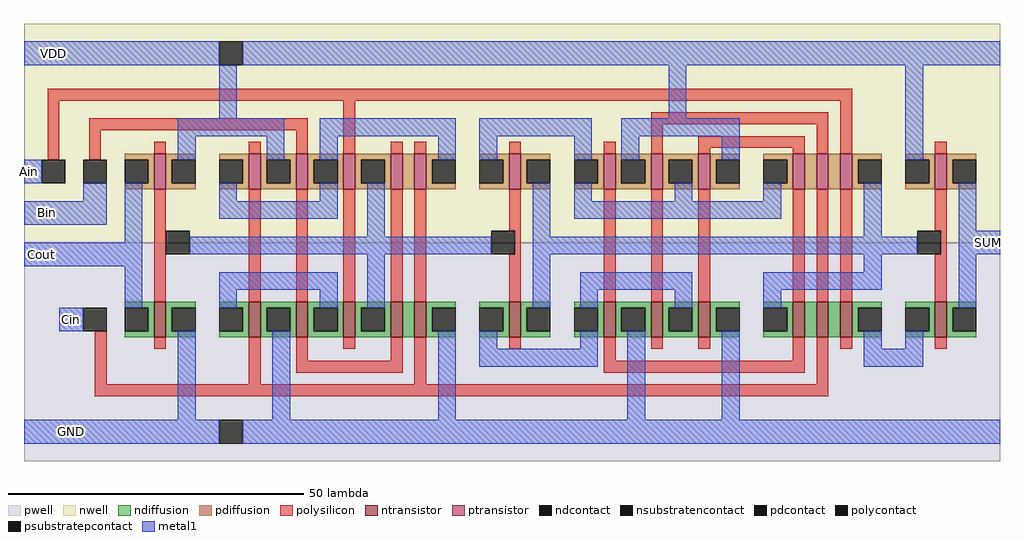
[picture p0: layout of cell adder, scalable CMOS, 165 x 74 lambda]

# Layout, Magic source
magic
tech scmos
<< pwell >>
rect -26 -43 139 -6
<< nwell >>
rect -26 -6 139 31
<< polysilicon >>
rect -22 18 114 20
rect -22 8 -20 18
rect -15 13 22 15
rect -15 8 -13 13
rect -4 9 -2 11
rect 12 9 14 11
rect 20 9 22 13
rect 28 9 30 18
rect 80 14 110 16
rect 36 9 38 11
rect 40 9 42 11
rect 56 9 58 11
rect 72 9 74 11
rect 80 9 82 14
rect 88 10 106 12
rect 88 9 90 10
rect 104 9 106 10
rect 108 9 110 14
rect 112 9 114 18
rect 128 9 130 11
rect -4 -16 -2 3
rect 12 -16 14 3
rect 20 -16 22 3
rect 28 -16 30 3
rect 36 -16 38 3
rect 40 -16 42 3
rect 56 -4 58 3
rect 57 -8 58 -4
rect 56 -16 58 -8
rect 72 -16 74 3
rect 80 -16 82 3
rect 88 -16 90 3
rect 104 -16 106 3
rect 108 -16 110 3
rect 112 -16 114 3
rect 128 -4 130 3
rect 129 -8 130 -4
rect 128 -16 130 -8
rect -14 -30 -12 -21
rect -4 -24 -2 -22
rect 12 -30 14 -22
rect 20 -26 22 -22
rect 28 -24 30 -22
rect 36 -26 38 -22
rect 20 -28 38 -26
rect 40 -30 42 -22
rect 56 -24 58 -22
rect 72 -26 74 -22
rect 80 -24 82 -22
rect 88 -24 90 -22
rect 104 -26 106 -22
rect 72 -28 106 -26
rect 108 -30 110 -22
rect 112 -24 114 -22
rect 128 -24 130 -22
rect -14 -32 110 -30
<< ndiffusion >>
rect -9 -17 -4 -16
rect -5 -21 -4 -17
rect -9 -22 -4 -21
rect -2 -17 3 -16
rect -2 -21 -1 -17
rect -2 -22 3 -21
rect 7 -17 12 -16
rect 11 -21 12 -17
rect 7 -22 12 -21
rect 14 -17 20 -16
rect 14 -21 15 -17
rect 19 -21 20 -17
rect 14 -22 20 -21
rect 22 -17 28 -16
rect 22 -21 23 -17
rect 27 -21 28 -17
rect 22 -22 28 -21
rect 30 -17 36 -16
rect 30 -21 31 -17
rect 35 -21 36 -17
rect 30 -22 36 -21
rect 38 -22 40 -16
rect 42 -17 47 -16
rect 42 -21 43 -17
rect 42 -22 47 -21
rect 51 -17 56 -16
rect 55 -21 56 -17
rect 51 -22 56 -21
rect 58 -17 63 -16
rect 58 -21 59 -17
rect 58 -22 63 -21
rect 67 -17 72 -16
rect 71 -21 72 -17
rect 67 -22 72 -21
rect 74 -17 80 -16
rect 74 -21 75 -17
rect 79 -21 80 -17
rect 74 -22 80 -21
rect 82 -17 88 -16
rect 82 -21 83 -17
rect 87 -21 88 -17
rect 82 -22 88 -21
rect 90 -17 95 -16
rect 90 -21 91 -17
rect 90 -22 95 -21
rect 99 -17 104 -16
rect 103 -21 104 -17
rect 99 -22 104 -21
rect 106 -22 108 -16
rect 110 -22 112 -16
rect 114 -17 119 -16
rect 114 -21 115 -17
rect 114 -22 119 -21
rect 123 -17 128 -16
rect 127 -21 128 -17
rect 123 -22 128 -21
rect 130 -17 135 -16
rect 130 -21 131 -17
rect 130 -22 135 -21
<< pdiffusion >>
rect -9 8 -4 9
rect -5 4 -4 8
rect -9 3 -4 4
rect -2 8 3 9
rect -2 4 -1 8
rect -2 3 3 4
rect 7 8 12 9
rect 11 4 12 8
rect 7 3 12 4
rect 14 8 20 9
rect 14 4 15 8
rect 19 4 20 8
rect 14 3 20 4
rect 22 8 28 9
rect 22 4 23 8
rect 27 4 28 8
rect 22 3 28 4
rect 30 8 36 9
rect 30 4 31 8
rect 35 4 36 8
rect 30 3 36 4
rect 38 3 40 9
rect 42 8 47 9
rect 42 4 43 8
rect 42 3 47 4
rect 51 8 56 9
rect 55 4 56 8
rect 51 3 56 4
rect 58 8 63 9
rect 58 4 59 8
rect 58 3 63 4
rect 67 8 72 9
rect 71 4 72 8
rect 67 3 72 4
rect 74 8 80 9
rect 74 4 75 8
rect 79 4 80 8
rect 74 3 80 4
rect 82 8 88 9
rect 82 4 83 8
rect 87 4 88 8
rect 82 3 88 4
rect 90 8 95 9
rect 90 4 91 8
rect 90 3 95 4
rect 99 8 104 9
rect 103 4 104 8
rect 99 3 104 4
rect 106 3 108 9
rect 110 3 112 9
rect 114 8 119 9
rect 114 4 115 8
rect 114 3 119 4
rect 123 8 128 9
rect 127 4 128 8
rect 123 3 128 4
rect 130 8 135 9
rect 130 4 131 8
rect 130 3 135 4
<< metal1 >>
rect -26 24 7 28
rect 11 24 139 28
rect 7 15 10 24
rect 83 15 86 24
rect 0 12 18 15
rect 0 8 3 12
rect 15 8 18 12
rect 24 12 47 15
rect 24 8 27 12
rect 44 8 47 12
rect -26 4 -23 8
rect -16 1 -12 4
rect -26 -3 -12 1
rect 51 12 70 15
rect 51 8 54 12
rect 67 8 70 12
rect 75 12 95 15
rect 75 8 78 12
rect 92 8 95 12
rect 123 8 126 24
rect -9 -6 -6 4
rect 7 1 10 4
rect 24 1 27 4
rect 7 -2 27 1
rect -26 -10 -6 -6
rect 32 -5 35 4
rect 2 -8 53 -5
rect 60 -5 63 4
rect 67 1 70 4
rect 84 1 87 4
rect 99 1 102 4
rect 67 -2 102 1
rect 116 -5 119 4
rect 132 -4 135 4
rect 60 -8 125 -5
rect 132 -8 139 -4
rect -9 -17 -6 -10
rect 7 -14 27 -11
rect 7 -17 10 -14
rect 24 -17 27 -14
rect 32 -17 35 -8
rect 60 -17 63 -8
rect 116 -11 119 -8
rect 68 -14 87 -11
rect 68 -17 71 -14
rect 84 -17 87 -14
rect 99 -14 119 -11
rect 99 -17 102 -14
rect 132 -17 135 -8
rect -20 -21 -16 -17
rect 0 -36 3 -21
rect 16 -36 19 -21
rect 44 -36 47 -21
rect 51 -24 54 -21
rect 68 -24 71 -21
rect 51 -27 71 -24
rect 76 -36 79 -21
rect 92 -36 95 -21
rect 116 -24 119 -21
rect 123 -24 126 -21
rect 116 -27 126 -24
rect -26 -40 7 -36
rect 11 -40 139 -36
<< ntransistor >>
rect -4 -22 -2 -16
rect 12 -22 14 -16
rect 20 -22 22 -16
rect 28 -22 30 -16
rect 36 -22 38 -16
rect 40 -22 42 -16
rect 56 -22 58 -16
rect 72 -22 74 -16
rect 80 -22 82 -16
rect 88 -22 90 -16
rect 104 -22 106 -16
rect 108 -22 110 -16
rect 112 -22 114 -16
rect 128 -22 130 -16
<< ptransistor >>
rect -4 3 -2 9
rect 12 3 14 9
rect 20 3 22 9
rect 28 3 30 9
rect 36 3 38 9
rect 40 3 42 9
rect 56 3 58 9
rect 72 3 74 9
rect 80 3 82 9
rect 88 3 90 9
rect 104 3 106 9
rect 108 3 110 9
rect 112 3 114 9
rect 128 3 130 9
<< polycontact >>
rect -23 4 -19 8
rect -16 4 -12 8
rect -2 -8 2 -4
rect 53 -8 57 -4
rect 125 -8 129 -4
rect -16 -21 -12 -17
<< ndcontact >>
rect -9 -21 -5 -17
rect -1 -21 3 -17
rect 7 -21 11 -17
rect 15 -21 19 -17
rect 23 -21 27 -17
rect 31 -21 35 -17
rect 43 -21 47 -17
rect 51 -21 55 -17
rect 59 -21 63 -17
rect 67 -21 71 -17
rect 75 -21 79 -17
rect 83 -21 87 -17
rect 91 -21 95 -17
rect 99 -21 103 -17
rect 115 -21 119 -17
rect 123 -21 127 -17
rect 131 -21 135 -17
<< pdcontact >>
rect -9 4 -5 8
rect -1 4 3 8
rect 7 4 11 8
rect 15 4 19 8
rect 23 4 27 8
rect 31 4 35 8
rect 43 4 47 8
rect 51 4 55 8
rect 59 4 63 8
rect 67 4 71 8
rect 75 4 79 8
rect 83 4 87 8
rect 91 4 95 8
rect 99 4 103 8
rect 115 4 119 8
rect 123 4 127 8
rect 131 4 135 8
<< psubstratepcontact >>
rect 7 -40 11 -36
<< nsubstratencontact >>
rect 7 24 11 28
<< labels >>
rlabel metal1 -21 26 -21 26 4 VDD
rlabel metal1 -18 -38 -18 -38 1 GND
rlabel metal1 -18 -19 -18 -19 1 Cin
rlabel metal1 -23 -8 -23 -8 3 Cout
rlabel metal1 -22 -1 -22 -1 3 Bin
rlabel metal1 -25 6 -25 6 3 Ain
rlabel metal1 137 -6 137 -6 7 SUM
<< end >>
